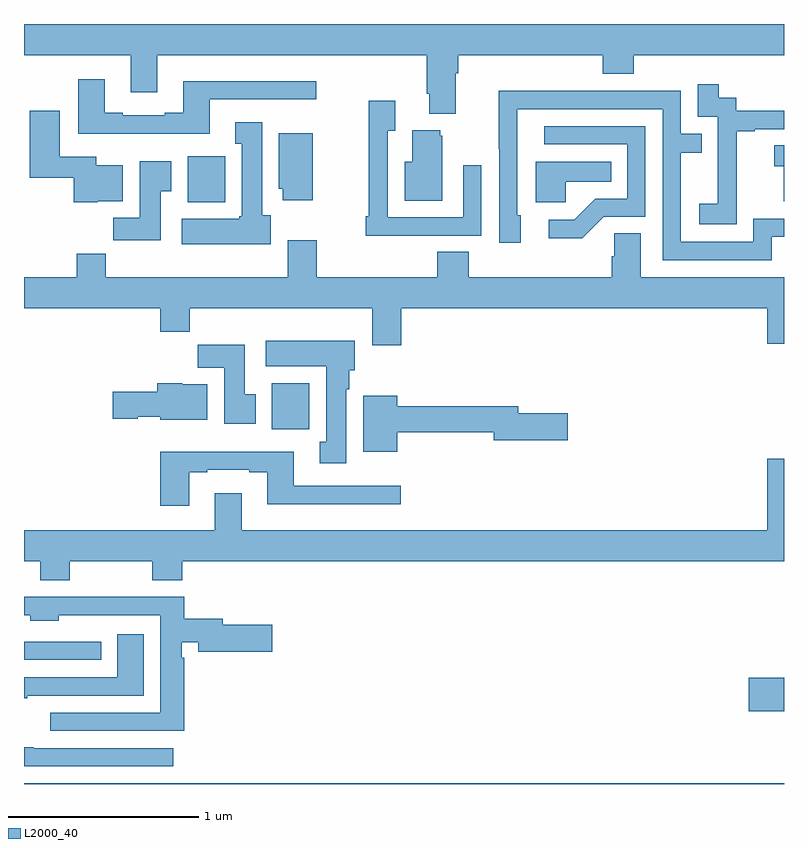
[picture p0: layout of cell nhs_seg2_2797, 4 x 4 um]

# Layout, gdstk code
import gdstk
lib = gdstk.Library(unit=1e-6, precision=1e-09)
def R(c, l, rs):  # rectangles x0, y0, x1, y1
    for r in rs: c.add(gdstk.rectangle(r[:2], r[2:], *l))
def P(c, l, *ps):  # polygons
    for p in ps: c.add(gdstk.Polygon(p, *l))
L2000_40 = (2000, 40)

nhs_seg2_2797 = lib.new_cell('nhs_seg2_2797')
R(nhs_seg2_2797, L2000_40, [(257,643.8,261,643.804), (260.814,644.182,261,644.36), (257,644.454,257.407,644.55), (258.305,645.668,258.502,645.91), (257.861,646.862,258.058,647.104)])
P(nhs_seg2_2797, L2000_40, [(259.273,647.54),(259.286,647.54),(259.286,647.636),(260.045,647.636),(260.045,647.537),(260.21,647.537),(260.21,647.636),(261,647.636),(261,647.8),(257,647.8),(257,647.636),(257.561,647.636),(257.561,647.442),(257.701,647.442),(257.701,647.636),(259.121,647.636),(259.121,647.434),(259.133,647.434),(259.133,647.327),(259.273,647.327)],
  [(257.977,647.403),(258.538,647.403),(258.538,647.5),(257.837,647.5),(257.837,647.332),(257.741,647.332),(257.741,647.319),(257.521,647.319),(257.521,647.332),(257.425,647.332),(257.425,647.509),(257.285,647.509),(257.285,647.222),(257.977,647.222)],
  [(260.751,646.951),(260.75,646.951),(260.75,647.235),(260.845,647.235),(260.845,647.247),(261,647.247),(261,647.343),(260.748,647.343),(260.748,647.412),(260.656,647.412),(260.656,647.482),(260.547,647.482),(260.547,647.313),(260.652,647.313),(260.652,647.084),(260.651,647.084),(260.651,646.855),(260.553,646.855),(260.553,646.745),(260.751,646.745)],
  [(260.935,646.68),(261,646.68),(261,646.776),(260.838,646.776),(260.838,646.653),(260.457,646.653),(260.457,647.122),(260.567,647.122),(260.567,647.223),(260.457,647.223),(260.457,647.448),(259.961,647.448),(259.961,647.45),(259.498,647.45),(259.498,647.143),(259.5,647.143),(259.5,646.65),(259.615,646.65),(259.615,646.794),(259.596,646.794),(259.596,647.11),(259.597,647.11),(259.597,647.352),(260.361,647.352),(260.361,646.557),(260.935,646.557)],
  [(259.091,646.686),(259.407,646.686),(259.407,647.056),(259.311,647.056),(259.311,646.782),(258.915,646.782),(258.915,647.239),(258.955,647.239),(258.955,647.395),(258.814,647.395),(258.814,646.789),(258.799,646.789),(258.799,646.685),(259.091,646.685)],
  [(257.388,646.868),(257.521,646.868),(257.521,647.056),(257.38,647.056),(257.38,647.101),(257.188,647.101),(257.188,647.344),(257.03,647.344),(257.03,646.991),(257.263,646.991),(257.263,646.862),(257.388,646.862)],
  [(258.298,646.794),(258.253,646.794),(258.253,647.284),(258.113,647.284),(258.113,647.171),(258.146,647.171),(258.146,646.788),(258.133,646.788),(258.133,646.774),(257.829,646.774),(257.829,646.64),(258.298,646.64)],
  [(260.005,646.738),(260.052,646.785),(260.271,646.785),(260.271,647.262),(259.737,647.262),(259.737,647.166),(260.175,647.166),(260.175,646.881),(260.006,646.881),(259.895,646.77),(259.761,646.77),(259.761,646.673),(259.939,646.673)],
  [(259.201,647.211),(259.19,647.211),(259.19,647.242),(259.043,647.242),(259.043,647.074),(259.004,647.074),(259.004,646.871),(259.201,646.871)],
  [(258.52,647.224),(258.341,647.224),(258.341,646.932),(258.362,646.932),(258.362,646.872),(258.52,646.872)],
  [(261,647.161),(260.949,647.161),(260.949,647.051),(260.998,647.051),(260.998,646.866),(261,646.866)],
  [(257.719,646.921),(257.776,646.921),(257.776,647.077),(257.609,647.077),(257.609,646.78),(257.47,646.78),(257.47,646.662),(257.719,646.662)],
  [(259.851,646.97),(260.09,646.97),(260.09,647.074),(259.694,647.074),(259.694,646.862),(259.851,646.862)],
  [(258.986,646.304),(260.912,646.304),(260.912,646.116),(261,646.116),(261,646.468),(260.245,646.468),(260.245,646.7),(260.106,646.7),(260.106,646.577),(260.093,646.577),(260.093,646.468),(259.34,646.468),(259.34,646.601),(259.175,646.601),(259.175,646.468),(258.541,646.468),(258.541,646.663),(258.389,646.663),(258.389,646.468),(257.429,646.468),(257.429,646.592),(257.278,646.592),(257.278,646.468),(257,646.468),(257,646.304),(257.717,646.304),(257.717,646.18),(257.873,646.18),(257.873,646.304),(258.833,646.304),(258.833,646.11),(258.986,646.11)],
  [(258.697,645.878),(258.712,645.878),(258.712,645.978),(258.742,645.978),(258.742,646.132),(258.273,646.132),(258.273,645.998),(258.59,645.998),(258.59,645.602),(258.557,645.602),(258.557,645.489),(258.697,645.489)],
  [(258.22,645.852),(258.163,645.852),(258.163,646.111),(257.914,646.111),(257.914,645.992),(258.053,645.992),(258.053,645.696),(258.22,645.696)],
  [(257.965,645.904),(257.832,645.904),(257.832,645.91),(257.702,645.91),(257.702,645.864),(257.466,645.864),(257.466,645.722),(257.598,645.722),(257.598,645.734),(257.718,645.734),(257.718,645.716),(257.965,645.716)],
  [(258.964,645.652),(259.472,645.652),(259.472,645.61),(259.861,645.61),(259.861,645.752),(259.6,645.752),(259.6,645.788),(258.964,645.788),(258.964,645.844),(258.785,645.844),(258.785,645.548),(258.964,645.548)],
  [(257.869,645.441),(257.965,645.441),(257.965,645.453),(258.185,645.453),(258.185,645.441),(258.281,645.441),(258.281,645.272),(258.982,645.272),(258.982,645.369),(258.421,645.369),(258.421,645.55),(257.717,645.55),(257.717,645.264),(257.869,645.264)],
  [(257,644.972),(257.086,644.972),(257.086,644.873),(257.241,644.873),(257.241,644.972),(257.674,644.972),(257.674,644.873),(257.834,644.873),(257.834,644.972),(261,644.972),(261,645.511),(260.912,645.511),(260.912,645.136),(258.145,645.136),(258.145,645.331),(258.005,645.331),(258.005,645.136),(257,645.136)],
  [(257.843,644.465),(257.83,644.465),(257.83,644.546),(257.918,644.546),(257.918,644.495),(258.307,644.495),(258.307,644.637),(258.046,644.637),(258.046,644.671),(257.843,644.671),(257.843,644.786),(257,644.786),(257,644.688),(257.034,644.688),(257.034,644.66),(257.184,644.66),(257.184,644.687),(257.396,644.687),(257.396,644.688),(257.717,644.688),(257.717,644.175),(257.139,644.175),(257.139,644.079),(257.843,644.079)],
  [(257.017,644.265),(257.629,644.265),(257.629,644.587),(257.492,644.587),(257.492,644.361),(257,644.361),(257,644.252),(257.017,644.252)],
  [(257.785,643.989),(257.051,643.989),(257.051,643.994),(257,643.994),(257,643.893),(257.785,643.893)])

lib.write_gds('nhs_seg2_2797.gds')
